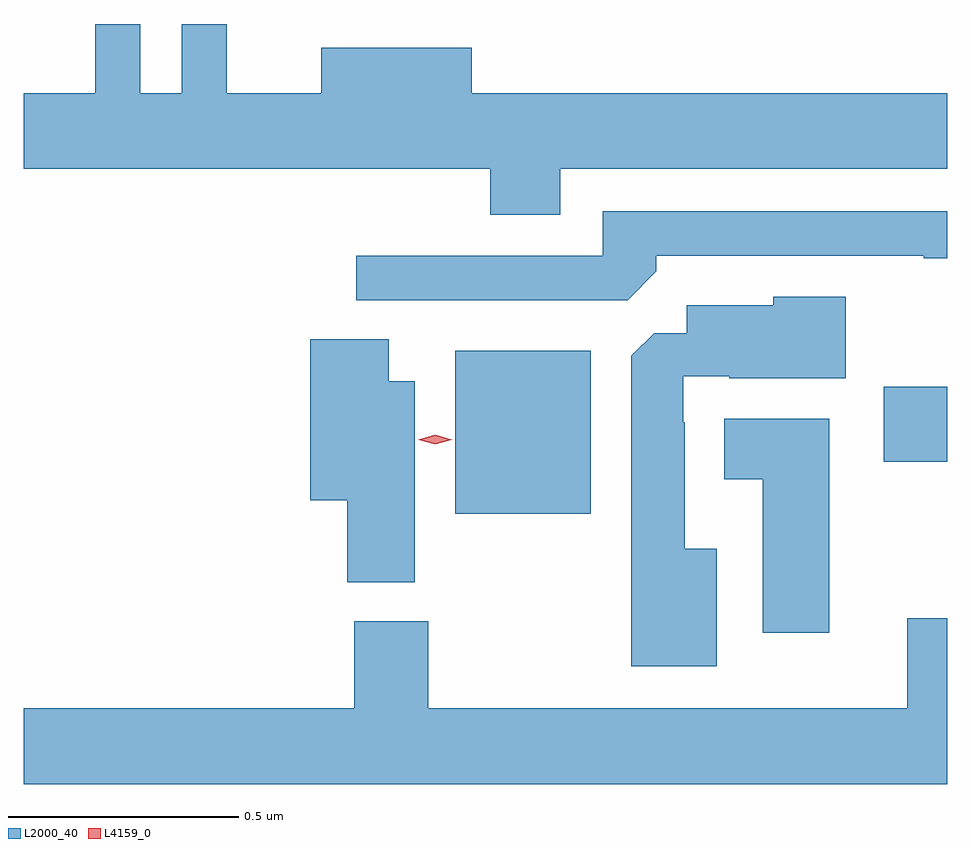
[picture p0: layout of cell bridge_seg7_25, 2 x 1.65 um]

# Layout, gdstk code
import gdstk
lib = gdstk.Library(unit=1e-6, precision=1e-09)
def R(c, l, rs):  # rectangles x0, y0, x1, y1
    for r in rs: c.add(gdstk.rectangle(r[:2], r[2:], *l))
def P(c, l, *ps):  # polygons
    for p in ps: c.add(gdstk.Polygon(p, *l))
L2000_40 = (2000, 40)
L4159_0 = (4159, 0)

bridge_seg7_25 = lib.new_cell('bridge_seg7_25')
R(bridge_seg7_25, L2000_40, [(1045.37,1053.149,1045.663,1053.502), (1046.298,1053.262,1046.435,1053.424)])
P(bridge_seg7_25, L2000_40, [(1045.597,1053.896),(1046.435,1053.896),(1046.435,1054.06),(1045.405,1054.06),(1045.405,1054.159),(1045.079,1054.159),(1045.079,1054.06),(1044.875,1054.06),(1044.875,1054.21),(1044.777,1054.21),(1044.777,1054.06),(1044.687,1054.06),(1044.687,1054.21),(1044.59,1054.21),(1044.59,1054.06),(1044.435,1054.06),(1044.435,1053.896),(1045.445,1053.896),(1045.445,1053.797),(1045.597,1053.797)],
  [(1045.805,1053.674),(1045.805,1053.708),(1046.384,1053.708),(1046.384,1053.703),(1046.435,1053.703),(1046.435,1053.804),(1045.689,1053.804),(1045.689,1053.708),(1045.155,1053.708),(1045.155,1053.612),(1045.743,1053.612)],
  [(1045.936,1053.073),(1045.867,1053.073),(1045.867,1053.347),(1045.863,1053.347),(1045.863,1053.447),(1045.963,1053.447),(1045.963,1053.443),(1046.215,1053.443),(1046.215,1053.619),(1046.058,1053.619),(1046.058,1053.601),(1045.871,1053.601),(1045.871,1053.54),(1045.8,1053.54),(1045.751,1053.491),(1045.751,1052.819),(1045.936,1052.819)],
  [(1045.282,1053.436),(1045.225,1053.436),(1045.225,1053.527),(1045.055,1053.527),(1045.055,1053.179),(1045.136,1053.179),(1045.136,1053.001),(1045.282,1053.001)],
  [(1046.179,1053.355),(1045.952,1053.355),(1045.952,1053.224),(1046.036,1053.224),(1046.036,1052.892),(1046.179,1052.892)],
  [(1046.435,1052.923),(1046.348,1052.923),(1046.348,1052.728),(1045.311,1052.728),(1045.311,1052.916),(1045.151,1052.916),(1045.151,1052.728),(1044.435,1052.728),(1044.435,1052.564),(1046.435,1052.564)])
P(bridge_seg7_25, L4159_0, [(1045.326,1053.3),(1045.289,1053.31),(1045.289,1053.31),(1045.289,1053.31),(1045.326,1053.32),(1045.362,1053.31),(1045.363,1053.31),(1045.362,1053.31)])

lib.write_gds('bridge_seg7_25.gds')
